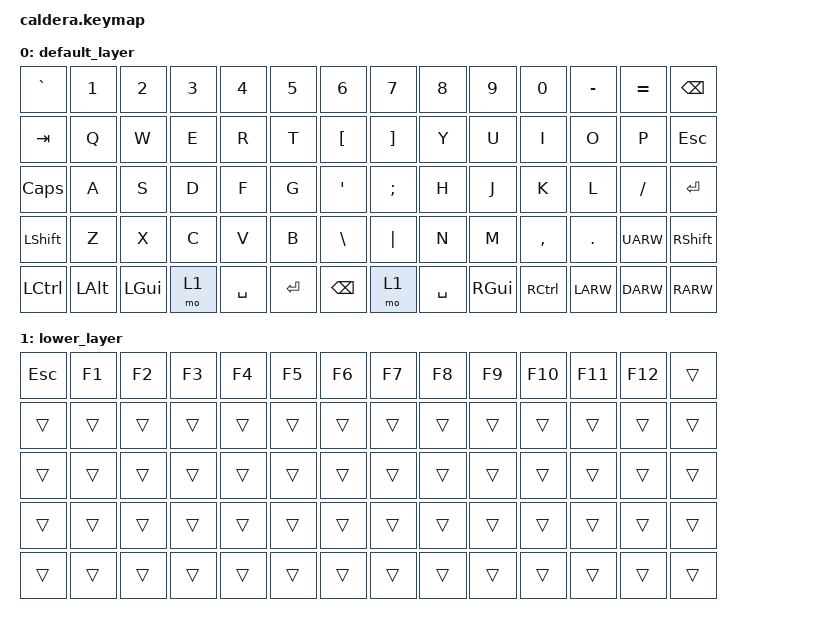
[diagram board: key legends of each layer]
#include <behaviors.dtsi>
#include <dt-bindings/zmk/keys.h>
#include <dt-bindings/zmk/bt.h>

/ {
        keymap {
                compatible = "zmk,keymap";

                default_layer {
// -----------------------------------------------------------------------------------------------------
// |   `  |  1  |  2  |  3  |  4  |  5  |  6  |     |  7  |  8  |  9  |  0  |  -  |  =  | BKSP |
// |  TAB |  Q  |  W  |  E  |  R  |  T  |  [  |     |  ]  |  Y  |  U  |  I  |  O  |  P  | ESC  |
// | CAPS |  A  |  S  |  D  |  F  |  G  |  '  |     |  ;  |  H  |  J  |  K  |  L  |  /  | ENT  |
// | SHFT |  Z  |  X  |  C  |  V  |  B  |  \  |     |  |  |  N  |  M  |  ,  |  .  | UARW| SHFT |
// | CTRL | ALT | GUI | LOW | SPC | ENT | BKSP|     | LOW | SPC | GUI | CTRL|LARW | DARW| RARW |
                        bindings = <
   &kp GRAVE  &kp N1    &kp N2    &kp N3     &kp N4     &kp N5     &kp N6         &kp N7     &kp N8     &kp N9     &kp N0    &kp MINUS  &kp EQUAL  &kp BSPC
   &kp TAB    &kp Q     &kp W     &kp E      &kp R      &kp T      &kp LBKT       &kp RBKT   &kp Y      &kp U      &kp I     &kp O      &kp P      &kp ESC
   &kp CAPS   &kp A     &kp S     &kp D      &kp F      &kp G      &kp APOS       &kp SEMI   &kp H      &kp J      &kp K     &kp L      &kp FSLH   &kp RET
   &kp LSHFT  &kp Z     &kp X     &kp C      &kp V      &kp B      &kp BSLH       &kp PIPE   &kp N      &kp M      &kp COMMA &kp DOT    &kp UARW   &kp RSHFT
   &kp LCTRL  &kp LALT  &kp LGUI  &mo 1      &kp SPACE  &kp RET    &kp BSPC       &mo 1      &kp SPACE  &kp RGUI   &kp RCTRL &kp LARW   &kp DARW   &kp RARW
                        >;
                };
                lower_layer {
// ------------------------------------------------------------------------------------------------------------
// | ESC   |  F1  |  F2  |  F3  |  F4  |  F5  |  F6  |          |  F7  |  F8  |  F9  | F10  | F11  | F12  |      |
// |       |      |      |      |      |      |      |          |      |      |      |      |      |      |      |
// |       |      |      |      |      |      |      |          |      |      |      |      |      |      |      |
// |       |      |      |      |      |      |      |          |      |      |      |      |      |      |      |
// |       |      |      |      |      |      |      |          |      |      |      |      |      |      |      |
                        bindings = <
   &kp ESC    &kp F1    &kp F2    &kp F3    &kp F4    &kp F5    &kp F6         &kp F7    &kp F8    &kp F9    &kp F10   &kp F11   &kp F12   &trans
   &trans     &trans    &trans    &trans    &trans    &trans    &trans         &trans    &trans    &trans    &trans    &trans    &trans    &trans
   &trans     &trans    &trans    &trans    &trans    &trans    &trans         &trans    &trans    &trans    &trans    &trans    &trans    &trans
   &trans     &trans    &trans    &trans    &trans    &trans    &trans         &trans    &trans    &trans    &trans    &trans    &trans    &trans
   &trans     &trans    &trans    &trans    &trans    &trans    &trans         &trans    &trans    &trans    &trans    &trans    &trans    &trans
                        >;
                };
        };
};
